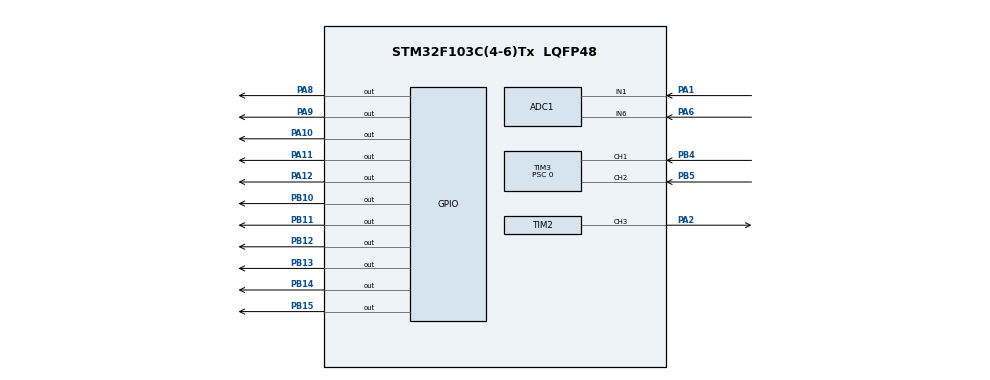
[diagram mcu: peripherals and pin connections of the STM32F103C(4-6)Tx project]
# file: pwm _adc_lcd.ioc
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ADC1.Channel-1\#ChannelRegularConversion=ADC_CHANNEL_1
ADC1.ContinuousConvMode=ENABLE
ADC1.NbrOfConversionFlag=1
ADC1.master=1
Mcu.Family=STM32F1
Mcu.Name=STM32F103C(4-6)Tx
Mcu.Package=LQFP48
NVIC.PriorityGroup=NVIC_PRIORITYGROUP_4
NVIC.TIM3_IRQn=true\:0\:0\:false\:false\:true\:true\:true\:true
PA1.Signal=ADCx_IN1
PA10.Signal=GPIO_Output
PA11.Signal=GPIO_Output
PA12.Signal=GPIO_Output
PA13.Mode=Serial_Wire
PA13.Signal=SYS_JTMS-SWDIO
PA14.Mode=Serial_Wire
PA14.Signal=SYS_JTCK-SWCLK
PA2.Signal=S_TIM2_CH3
PA6.Signal=ADCx_IN6
PA8.Signal=GPIO_Output
PA9.Signal=GPIO_Output
PB10.Signal=GPIO_Output
PB11.Signal=GPIO_Output
PB12.Signal=GPIO_Output
PB13.Signal=GPIO_Output
PB14.Signal=GPIO_Output
PB15.Signal=GPIO_Output
PB4.Signal=S_TIM3_CH1
PB5.Signal=S_TIM3_CH2
PD0-OSC_IN.Mode=HSE-External-Oscillator
PD0-OSC_IN.Signal=RCC_OSC_IN
PD1-OSC_OUT.Mode=HSE-External-Oscillator
PD1-OSC_OUT.Signal=RCC_OSC_OUT
ProjectManager.HeapSize=0x200
ProjectManager.StackSize=0x400
ProjectManager.TargetToolchain=STM32CubeIDE
RCC.APB1Freq_Value=8000000
RCC.APB2Freq_Value=8000000
SH.ADCx_IN1.0=ADC1_IN1,IN1
SH.ADCx_IN6.0=ADC1_IN6,IN6
SH.S_TIM2_CH3.0=TIM2_CH3,PWM Generation3 CH3
SH.S_TIM3_CH1.0=TIM3_CH1,Input_Capture1_from_TI1
SH.S_TIM3_CH2.0=TIM3_CH2,Input_Capture2_from_TI2
TIM2.Channel-PWM\ Generation3\ CH3=TIM_CHANNEL_3
TIM2.Period=7999
TIM3.Channel-Input_Capture1_from_TI1=TIM_CHANNEL_1
TIM3.Channel-Input_Capture2_from_TI2=TIM_CHANNEL_2
TIM3.ICPolarity_CH2=TIM_INPUTCHANNELPOLARITY_FALLING
TIM3.Period=7999
TIM3.Prescaler=0
VP_TIM2_VS_ClockSourceINT.Mode=Internal
VP_TIM3_VS_ClockSourceINT.Mode=Internal
board=custom

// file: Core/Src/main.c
/* USER CODE BEGIN Header */
/**
  ******************************************************************************
  * @file           : main.c
  * @brief          : Main program body
  ******************************************************************************
  * @attention
  *
  * Copyright (c) 2024 STMicroelectronics.
  * All rights reserved.
  *
  * This software is licensed under terms that can be found in the LICENSE file
  * in the root directory of this software component.
  * If no LICENSE file comes with this software, it is provided AS-IS.
  ******************************************************************************
  */
/* USER CODE END Header */

#include "main.h"
#include "lcd_txt.h" // include LCD driver to be able to use it function in your code

ADC_HandleTypeDef hadc1;
TIM_HandleTypeDef htim2;
TIM_HandleTypeDef htim3;

/* USER CODE BEGIN PV */

uint16_t dutycycle; // duty cycle of pwm
uint16_t percentage;  // convert duty cycle into percentage
uint16_t PotAfterConversion; // value of potentiometer after conversion from analog to digital  form 0 -> 4095
uint16_t PWMconversion; //  value of PWM after conversion from analog to digital   form 0 -> 4095
float voltage;  // calculate voltage from input pwm signal to the adc pin

//                      ICU  varibles  < ignore it >
uint8_t Is_First_Captured = 0; // Flag to check if the first capture is done
uint32_t rising_edge_1 = 0;    // Stores the timer value at the first rising edge
uint32_t rising_edge_2 = 0;    // Stores the timer value at the second rising edge
uint32_t falling_edge_time = 0; // Stores the timer value at the falling edge
float high_time = 0;           // Stores the time for the high period (pulse width)
float period = 0;              // Stores the total period of the PWM signal
float duty_cycle = 0;          // Stores the calculated duty cycle as a percentage
ADC_ChannelConfTypeDef sConfigPrivate = {0};

void SystemClock_Config(void);
static void MX_GPIO_Init(void);
static void MX_ADC1_Init(void);
static void MX_TIM2_Init(void);
static void MX_TIM3_Init(void);

/* USER CODE BEGIN 0 */
void HAL_TIM_IC_CaptureCallback(TIM_HandleTypeDef *htim) {
    if (htim->Instance == TIM3) {
        if (Is_First_Captured == 0) { // First edge: rising edge
            rising_edge_1 = HAL_TIM_ReadCapturedValue(htim, TIM_CHANNEL_1);
            Is_First_Captured = 1;
            __HAL_TIM_SET_CAPTUREPOLARITY(htim, TIM_CHANNEL_1, TIM_INPUTCHANNELPOLARITY_FALLING);
        } else if (Is_First_Captured == 1) { // Second edge: falling edge
            falling_edge_time = HAL_TIM_ReadCapturedValue(htim, TIM_CHANNEL_1);

            // Calculate high time (pulse width)
            if (falling_edge_time >= rising_edge_1) {
                high_time = falling_edge_time - rising_edge_1;
            } else { // Handle timer overflow
                high_time = (htim->Instance->ARR - rising_edge_1) + falling_edge_time + 1;
            }

            __HAL_TIM_SET_CAPTUREPOLARITY(htim, TIM_CHANNEL_1, TIM_INPUTCHANNELPOLARITY_RISING);
            Is_First_Captured = 2; // Ready for period measurement
        } else if (Is_First_Captured == 2) { // Third edge: next rising edge
            rising_edge_2 = HAL_TIM_ReadCapturedValue(htim, TIM_CHANNEL_1);
            Is_First_Captured = 0; // Reset for the next cycle

            // Calculate total period
            if (rising_edge_2 >= falling_edge_time) {
                period = rising_edge_2 - rising_edge_1; // Normal case
            } else { // Handle timer overflow
                period = (htim->Instance->ARR - rising_edge_1) + rising_edge_2 + 1;
            }

            // Calculate duty cycle as a percentage
            if (period != 0) {
                duty_cycle = ((float)high_time / period) * 100.0f; // Convert to percentage
            } else {
                duty_cycle = 0; // Handle case where period is zero
            }
        }
    }
}

/* USER CODE END 0 */

int main(void)
{

  /* MCU Configuration--------------------------------------------------------*/

  /* Reset of all peripherals, Initializes the Flash interface and the Systick. */
  HAL_Init();

  /* Configure the system clock */
  SystemClock_Config();

  /* Initialize all configured peripherals */
  MX_GPIO_Init();
  MX_ADC1_Init();
  MX_TIM2_Init();
  MX_TIM3_Init();
  lcd_init(); // initialize lcd
  /* USER CODE BEGIN 2 */
    HAL_TIM_Base_Start(&htim2); // starts the basic counter functionality of a timer
    HAL_TIM_PWM_Start(&htim2, TIM_CHANNEL_3);   // put Timer 2 Channel 3 in pwm genration mode
   //  HAL_TIM_IC_Start_IT(&htim3, TIM_CHANNEL_1); // put Timer 3 Channel 1  in Input Capture mode  <ignore>
  /* USER CODE END 2 */

  /* Infinite loop */
  /* USER CODE BEGIN WHILE */
  while (1)
  {

	  // ADC Channel 1 Configuration
	        sConfigPrivate.Rank = ADC_REGULAR_RANK_1;
	        sConfigPrivate.SamplingTime = ADC_SAMPLETIME_1CYCLE_5;
	        sConfigPrivate.Channel = ADC_CHANNEL_1; // Using ADC_CHANNEL_1
	        HAL_ADC_ConfigChannel(&hadc1, &sConfigPrivate); // Prepare the ADC before starting conversion
	        HAL_ADC_Start(&hadc1); // Start the ADC conversion process
	        HAL_ADC_PollForConversion(&hadc1, 1000); // Wait for ADC conversion
	        PotAfterConversion = HAL_ADC_GetValue(&hadc1); // Get ADC value
	        HAL_ADC_Stop(&hadc1); // Stop the ADC peripheral

	        // Calculate PWM Duty Cycle
	        dutycycle = (PotAfterConversion / 4095.0) * 8000; // Adjust the duty cycle
	        percentage = dutycycle * 100 / 8000; // Calculate percentage

	        // Generate PWM signal
	        __HAL_TIM_SET_COMPARE(&htim2, TIM_CHANNEL_3, dutycycle);

	        // ADC Channel 6 Configuration
	        sConfigPrivate.Channel = ADC_CHANNEL_6;
	        HAL_ADC_ConfigChannel(&hadc1, &sConfigPrivate);
	        HAL_ADC_Start(&hadc1);
	        HAL_ADC_PollForConversion(&hadc1, 1000); // Convert the PWM signal
	        PWMconversion = HAL_ADC_GetValue(&hadc1); // Store the converted value
	        HAL_ADC_Stop(&hadc1);

	        // Calculate Voltage
	        voltage = PWMconversion / 4095.0 * 5; // Calculate voltage

	        // LCD Display
	        lcd_puts_s(0, 0, (int8_t*)"Duty Cycle : ");
	        lcd_puts_d(13, 0, 0, percentage);
	        lcd_puts_s(16, 0, (int8_t*)"%");
	        lcd_puts_s(0, 1, (int8_t*)"Voltage    : ");
	        lcd_puts_d(13, 1, 2, voltage);

	        // LED for Duty Cycle Indication
	        HAL_GPIO_WritePin(GPIOA, GPIO_PIN_12, percentage >= 20 ? GPIO_PIN_SET : GPIO_PIN_RESET);
	        HAL_GPIO_WritePin(GPIOA, GPIO_PIN_11, percentage >= 40 ? GPIO_PIN_SET : GPIO_PIN_RESET);
	        HAL_GPIO_WritePin(GPIOA, GPIO_PIN_10, percentage >= 60 ? GPIO_PIN_SET : GPIO_PIN_RESET);
	        HAL_GPIO_WritePin(GPIOA, GPIO_PIN_9, percentage >= 80 ? GPIO_PIN_SET : GPIO_PIN_RESET);
	        HAL_GPIO_WritePin(GPIOA, GPIO_PIN_8, percentage >= 100 ? GPIO_PIN_SET : GPIO_PIN_RESET);

	       //  ( A ) ?  B  : C  == if(A){   B  }          lambda expression
	      //                        else{  C   }

	        HAL_Delay(300); // Delay for visualizing data on LCD
	        lcd_clear(); // Clear the screen

  }
  /* USER CODE END 3 */
}

void SystemClock_Config(void)
{
  RCC_OscInitTypeDef RCC_OscInitStruct = {0};
  RCC_ClkInitTypeDef RCC_ClkInitStruct = {0};
  RCC_PeriphCLKInitTypeDef PeriphClkInit = {0};

  /** Initializes the RCC Oscillators according to the specified parameters
  * in the RCC_OscInitTypeDef structure.
  */
  RCC_OscInitStruct.OscillatorType = RCC_OSCILLATORTYPE_HSI;
  RCC_OscInitStruct.HSIState = RCC_HSI_ON;
  RCC_OscInitStruct.HSICalibrationValue = RCC_HSICALIBRATION_DEFAULT;
  RCC_OscInitStruct.PLL.PLLState = RCC_PLL_NONE;
  if (HAL_RCC_OscConfig(&RCC_OscInitStruct) != HAL_OK)
  {
    Error_Handler();
  }

  /** Initializes the CPU, AHB and APB buses clocks
  */
  RCC_ClkInitStruct.ClockType = RCC_CLOCKTYPE_HCLK|RCC_CLOCKTYPE_SYSCLK
                              |RCC_CLOCKTYPE_PCLK1|RCC_CLOCKTYPE_PCLK2;
  RCC_ClkInitStruct.SYSCLKSource = RCC_SYSCLKSOURCE_HSI;
  RCC_ClkInitStruct.AHBCLKDivider = RCC_SYSCLK_DIV1;
  RCC_ClkInitStruct.APB1CLKDivider = RCC_HCLK_DIV1;
  RCC_ClkInitStruct.APB2CLKDivider = RCC_HCLK_DIV1;

  if (HAL_RCC_ClockConfig(&RCC_ClkInitStruct, FLASH_LATENCY_0) != HAL_OK)
  {
    Error_Handler();
  }
  PeriphClkInit.PeriphClockSelection = RCC_PERIPHCLK_ADC;
  PeriphClkInit.AdcClockSelection = RCC_ADCPCLK2_DIV2;
  if (HAL_RCCEx_PeriphCLKConfig(&PeriphClkInit) != HAL_OK)
  {
    Error_Handler();
  }
}

static void MX_ADC1_Init(void)
{

  ADC_ChannelConfTypeDef sConfig = {0};

  /** Common config
  */
  hadc1.Instance = ADC1;
  hadc1.Init.ScanConvMode = ADC_SCAN_DISABLE;
  hadc1.Init.ContinuousConvMode = ENABLE;
  hadc1.Init.DiscontinuousConvMode = DISABLE;
  hadc1.Init.ExternalTrigConv = ADC_SOFTWARE_START;
  hadc1.Init.DataAlign = ADC_DATAALIGN_RIGHT;
  hadc1.Init.NbrOfConversion = 1;
  if (HAL_ADC_Init(&hadc1) != HAL_OK)
  {
    Error_Handler();
  }

  /** Configure Regular Channel
  */
  sConfig.Channel = ADC_CHANNEL_1;
  sConfig.Rank = ADC_REGULAR_RANK_1;
  sConfig.SamplingTime = ADC_SAMPLETIME_1CYCLE_5;
  if (HAL_ADC_ConfigChannel(&hadc1, &sConfig) != HAL_OK)
  {
    Error_Handler();
  }

}

static void MX_TIM2_Init(void)
{

  TIM_ClockConfigTypeDef sClockSourceConfig = {0};
  TIM_MasterConfigTypeDef sMasterConfig = {0};
  TIM_OC_InitTypeDef sConfigOC = {0};

  htim2.Instance = TIM2;
  htim2.Init.Prescaler = 0;
  htim2.Init.CounterMode = TIM_COUNTERMODE_UP;
  htim2.Init.Period = 7999;
  htim2.Init.ClockDivision = TIM_CLOCKDIVISION_DIV1;
  htim2.Init.AutoReloadPreload = TIM_AUTORELOAD_PRELOAD_DISABLE;
  if (HAL_TIM_Base_Init(&htim2) != HAL_OK)
  {
    Error_Handler();
  }
  sClockSourceConfig.ClockSource = TIM_CLOCKSOURCE_INTERNAL;
  if (HAL_TIM_ConfigClockSource(&htim2, &sClockSourceConfig) != HAL_OK)
  {
    Error_Handler();
  }
  if (HAL_TIM_PWM_Init(&htim2) != HAL_OK)
  {
    Error_Handler();
  }
  sMasterConfig.MasterOutputTrigger = TIM_TRGO_RESET;
  sMasterConfig.MasterSlaveMode = TIM_MASTERSLAVEMODE_DISABLE;
  if (HAL_TIMEx_MasterConfigSynchronization(&htim2, &sMasterConfig) != HAL_OK)
  {
    Error_Handler();
  }
  sConfigOC.OCMode = TIM_OCMODE_PWM1;
  sConfigOC.Pulse = 0;
  sConfigOC.OCPolarity = TIM_OCPOLARITY_HIGH;
  sConfigOC.OCFastMode = TIM_OCFAST_DISABLE;
  if (HAL_TIM_PWM_ConfigChannel(&htim2, &sConfigOC, TIM_CHANNEL_3) != HAL_OK)
  {
    Error_Handler();
  }
  HAL_TIM_MspPostInit(&htim2);

}

static void MX_TIM3_Init(void)
{

  TIM_ClockConfigTypeDef sClockSourceConfig = {0};
  TIM_MasterConfigTypeDef sMasterConfig = {0};
  TIM_IC_InitTypeDef sConfigIC = {0};

  htim3.Instance = TIM3;
  htim3.Init.Prescaler = 0;
  htim3.Init.CounterMode = TIM_COUNTERMODE_UP;
  htim3.Init.Period = 7999;
  htim3.Init.ClockDivision = TIM_CLOCKDIVISION_DIV1;
  htim3.Init.AutoReloadPreload = TIM_AUTORELOAD_PRELOAD_DISABLE;
  if (HAL_TIM_Base_Init(&htim3) != HAL_OK)
  {
    Error_Handler();
  }
  sClockSourceConfig.ClockSource = TIM_CLOCKSOURCE_INTERNAL;
  if (HAL_TIM_ConfigClockSource(&htim3, &sClockSourceConfig) != HAL_OK)
  {
    Error_Handler();
  }
  if (HAL_TIM_IC_Init(&htim3) != HAL_OK)
  {
    Error_Handler();
  }
  sMasterConfig.MasterOutputTrigger = TIM_TRGO_RESET;
  sMasterConfig.MasterSlaveMode = TIM_MASTERSLAVEMODE_DISABLE;
  if (HAL_TIMEx_MasterConfigSynchronization(&htim3, &sMasterConfig) != HAL_OK)
  {
    Error_Handler();
  }
  sConfigIC.ICPolarity = TIM_INPUTCHANNELPOLARITY_RISING;
  sConfigIC.ICSelection = TIM_ICSELECTION_DIRECTTI;
  sConfigIC.ICPrescaler = TIM_ICPSC_DIV1;
  sConfigIC.ICFilter = 0;
  if (HAL_TIM_IC_ConfigChannel(&htim3, &sConfigIC, TIM_CHANNEL_1) != HAL_OK)
  {
    Error_Handler();
  }
  sConfigIC.ICPolarity = TIM_INPUTCHANNELPOLARITY_FALLING;
  if (HAL_TIM_IC_ConfigChannel(&htim3, &sConfigIC, TIM_CHANNEL_2) != HAL_OK)
  {
    Error_Handler();
  }

}

static void MX_GPIO_Init(void)
{
  GPIO_InitTypeDef GPIO_InitStruct = {0};

  /* GPIO Ports Clock Enable */
  __HAL_RCC_GPIOD_CLK_ENABLE();
  __HAL_RCC_GPIOA_CLK_ENABLE();
  __HAL_RCC_GPIOB_CLK_ENABLE();

  /*Configure GPIO pin Output Level */
  HAL_GPIO_WritePin(GPIOB, GPIO_PIN_10|GPIO_PIN_11|GPIO_PIN_12|GPIO_PIN_13
                          |GPIO_PIN_14|GPIO_PIN_15, GPIO_PIN_RESET);

  /*Configure GPIO pin Output Level */
  HAL_GPIO_WritePin(GPIOA, GPIO_PIN_8|GPIO_PIN_9|GPIO_PIN_10|GPIO_PIN_11
                          |GPIO_PIN_12, GPIO_PIN_RESET);

  /*Configure GPIO pins : PB10 PB11 PB12 PB13
                           PB14 PB15 */
  GPIO_InitStruct.Pin = GPIO_PIN_10|GPIO_PIN_11|GPIO_PIN_12|GPIO_PIN_13
                          |GPIO_PIN_14|GPIO_PIN_15;
  GPIO_InitStruct.Mode = GPIO_MODE_OUTPUT_PP;
  GPIO_InitStruct.Pull = GPIO_NOPULL;
  GPIO_InitStruct.Speed = GPIO_SPEED_FREQ_LOW;
  HAL_GPIO_Init(GPIOB, &GPIO_InitStruct);

  /*Configure GPIO pins : PA8 PA9 PA10 PA11
                           PA12 */
  GPIO_InitStruct.Pin = GPIO_PIN_8|GPIO_PIN_9|GPIO_PIN_10|GPIO_PIN_11
                          |GPIO_PIN_12;
  GPIO_InitStruct.Mode = GPIO_MODE_OUTPUT_PP;
  GPIO_InitStruct.Pull = GPIO_NOPULL;
  GPIO_InitStruct.Speed = GPIO_SPEED_FREQ_LOW;
  HAL_GPIO_Init(GPIOA, &GPIO_InitStruct);

}

void Error_Handler(void)
{
  __disable_irq();
  while (1)
  {
  }
}
